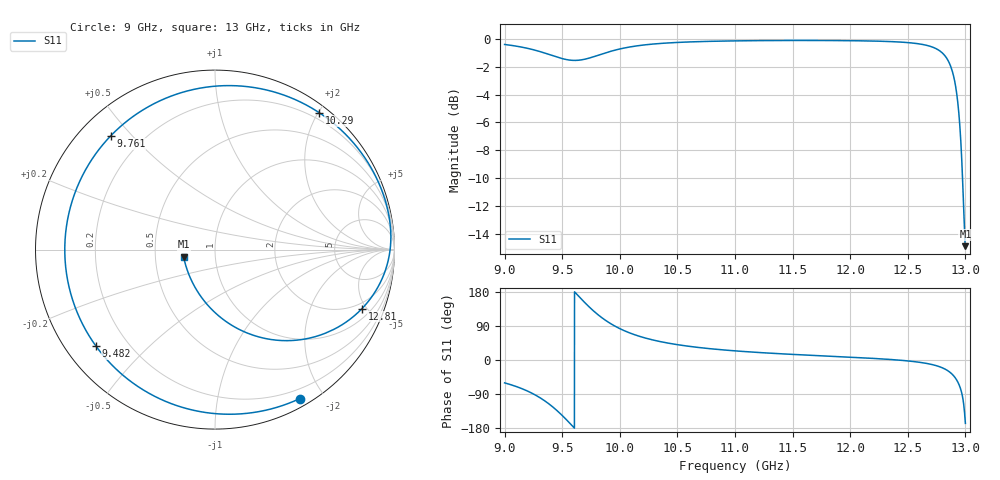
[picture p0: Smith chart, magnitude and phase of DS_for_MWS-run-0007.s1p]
! TOUCHSTONE file generated by CST DESIGN STUDIO
! Date and time: Tue Feb  4 18:04:02 2025
! Project name: C:\Work\MatlabApps\UnitCellOptimizationMatlab\CST\unitcell.cst
! Tree item: Tasks\Sweep1\SPara1\S-Parameters
! Header version: 2024
! Port assignment regex: !\s*Touchstone port\s*([0-9]+)\s*=\s*(CST MWS port|CST DES external port|CST DES block port)\s*(.+)\s* \(\"(.*)\"\)(\s*mode\s*([0-9]+))?.*
! Touchstone port assignment:
! Touchstone port 1 = CST DES external port 1 ("")
# GHz S MA R 50
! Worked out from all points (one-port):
!   4001 points, 9 GHz to 13 GHz, reference 50 ohm
!   lowest |S11| = -14.9 dB at 13 GHz (marker M1), VSWR 1.44, Z = 35 - j2.87 ohm
!   |S11| at or under -10 dB: 12.97506 GHz to end of sweep
!   S11 on the Smith chart (normalised r, x): 9 GHz: 0.09, -1.72; 9.482 GHz: 0.09, -0.35; 9.761 GHz: 0.09, +0.44; 10.29 GHz: 0.11, +2.02; 12.81 GHz: 1.57, -4.67; 13 GHz: 0.70, -0.06
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9  0.9551 -60.4
9.149  0.9343 -75.5
9.295  0.9036 -97.3
9.393  0.8772 -117.8
9.482  0.8536 -141.1
9.5  0.8496 -146.4
9.565  0.8392 -166.5
9.626  0.8373 173.7
9.688  0.8439 154.0
9.761  0.8598 132.5
9.814  0.8741 118.7
9.87  0.8894 106.0
10  0.9202 82.8
10.136  0.9426 65.9
10.29  0.9586 52.7
10.5  0.9714 40.5
11  0.984 24.1
11.5  0.9874 14.8
12  0.9855 7.4
12.5  0.9701 -2.4
12.696  0.9403 -11.0
12.809  0.8826 -21.8
12.878  0.7851 -35.4
12.906  0.7084 -44.6
12.932  0.6007 -56.9
12.961  0.4226 -78.8
12.982  0.2638 -109.3
13  0.1797 -167.2
